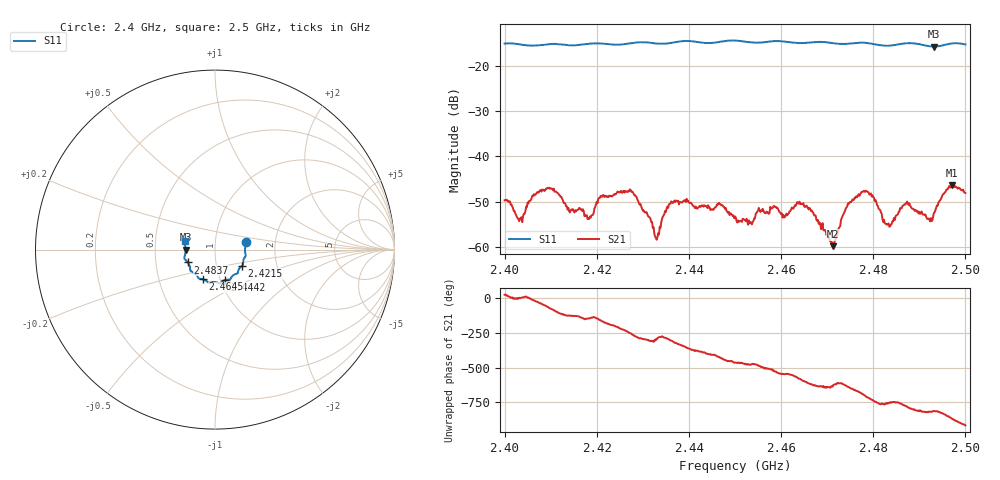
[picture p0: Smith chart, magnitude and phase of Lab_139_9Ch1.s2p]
# Hz S RI R 50
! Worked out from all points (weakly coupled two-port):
!   601 points, 2.4 GHz to 2.5 GHz, reference 50 ohm
!   highest |S21| = -46.26 dB at 2.4972 GHz (marker M1); lowest = -59.8 dB at 2.4712 GHz (marker M2)
!   lowest |S11| = -15.7 dB at 2.4932 GHz (marker M3), VSWR 1.39, Z = 35.9 - j0.0554 ohm
!   |S11| at or under -10 dB: start of sweep to end of sweep
!   S12 and S22 are empty: the file has one direction only
!   S11 on the Smith chart (normalised r, x): 2.4 GHz: 1.41, +0.12; 2.4215 GHz: 1.33, -0.25; 2.4442 GHz: 1.05, -0.37; 2.4645 GHz: 0.83, -0.29; 2.4837 GHz: 0.73, -0.11; 2.5 GHz: 0.71, +0.07
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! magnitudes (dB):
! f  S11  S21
! 2.4 GHz  -15.1  -49.7
! 2.4033 GHz  -15.2  -53.7
! 2.4098 GHz  -15.2  -47.1
! 2.4167 GHz  -15.3  -51.7
! 2.4185 GHz  -15.1  -53.3
! 2.4215 GHz  -15.1  -48.5
! 2.4275 GHz  -15.0  -47.8
! 2.4333 GHz  -15.1  -56.9
! 2.4363 GHz  -14.9  -50.1
! 2.4442 GHz  -15.0  -50.8
! 2.45 GHz  -14.4  -53.3
! 2.4645 GHz  -15.0  -50.5
! 2.4667 GHz  -14.8  -51.9
! 2.4712 GHz  -15.0  -59.8
! 2.4745 GHz  -15.1  -50.4
! 2.478 GHz  -14.9  -47.6
! 2.4833 GHz  -15.5  -54.8
! 2.4837 GHz  -15.5  -55.4
! 2.487 GHz  -15.0  -50.6
! 2.4932 GHz  -15.7  -52.5
! 2.4972 GHz  -15.0  -46.3
! 2.5 GHz  -15.3  -48.1
